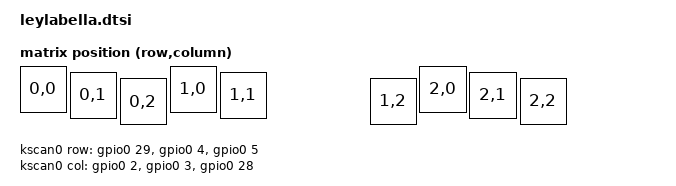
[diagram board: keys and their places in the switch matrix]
/*
 * Copyright (c) 2020 Pete Johanson
 *
 * SPDX-License-Identifier: MIT
 */

#include <dt-bindings/zmk/matrix_transform.h>
#include <physical_layouts.dtsi>

/ {
	chosen {
		zmk,kscan = &kscan0;
		// zmk,matrix-transform = &default_transform;
	};

	default_transform: keymap_transform_0 {
		compatible = "zmk,matrix-transform";
		columns = <3>;
		rows = <3>;
		map = <
		// 	D0 P0.2   D1 P0.3   D2 P0.28
				RC(0,0)   RC(0,1)   RC(0,2)  // D3 P0.29
				RC(1,0)   RC(1,1)   RC(1,2)  // D4 P0.4
				RC(2,0)   RC(2,1)   RC(2,2)  // D5 P0.5
		>;
	};

	kscan0: kscan {
		compatible = "zmk,kscan-gpio-matrix";
		label = "KSCAN";
		diode-direction = "col2row";
		wakeup-source;
		row-gpios
			= <&gpio0 29 (GPIO_ACTIVE_HIGH | GPIO_PULL_DOWN)>
			, <&gpio0 4 (GPIO_ACTIVE_HIGH | GPIO_PULL_DOWN)>
			, <&gpio0 5 (GPIO_ACTIVE_HIGH | GPIO_PULL_DOWN)>
			;
		col-gpios
			= <&gpio0 2 GPIO_ACTIVE_HIGH>
			, <&gpio0 3 GPIO_ACTIVE_HIGH>
		  , <&gpio0 28 GPIO_ACTIVE_HIGH>
			;
	};

	moudabella_col_layout: moudabella_col_layout {
			compatible = "zmk,physical-layout";
			display-name = "moudabella";

			transform = <&default_transform>;
			kscan = <&kscan0>;

			keys  //                     w   h    x    y     rot    rx    ry
					= <&key_physical_attrs 100 100    0    0       0     0     0>
					, <&key_physical_attrs 100 100  100   12       0     0     0>
					, <&key_physical_attrs 100 100  200   25       0     0     0>
					, <&key_physical_attrs 100 100  300    0       0     0     0>
					, <&key_physical_attrs 100 100  400   12       0     0     0>
					, <&key_physical_attrs 100 100  700   24       0     0     0>
					, <&key_physical_attrs 100 100  800    0       0     0     0>
					, <&key_physical_attrs 100 100  900   12       0     0     0>
					, <&key_physical_attrs 100 100 1000   24       0     0     0>
			;
	};

	moudabella_position_map {
			compatible = "zmk,physical-layout-position-map";
			complete;
			ten {
					physical-layout = <&moudabella_col_layout>;
					positions
							= < 0  1  2  >
							, < 3  4  5  >
							, < 6  7  8  >
					;
			};
	};

};
